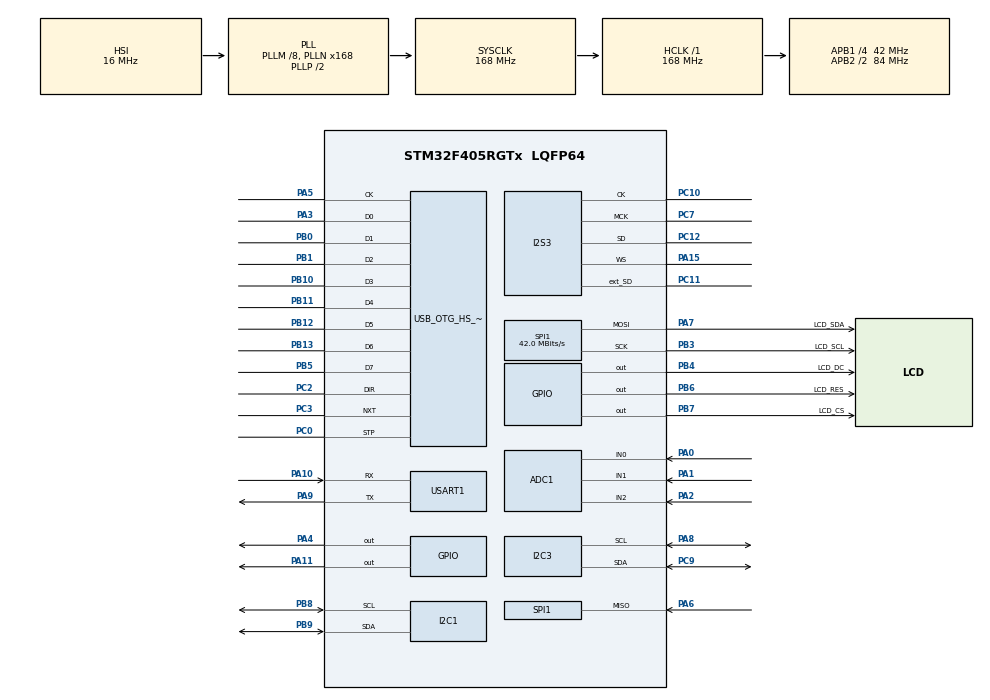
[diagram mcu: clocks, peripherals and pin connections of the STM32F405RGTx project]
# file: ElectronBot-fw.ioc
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ADC1.Channel-0\#ChannelRegularConversion=ADC_CHANNEL_0
ADC1.NbrOfConversionFlag=1
ADC1.Rank-0\#ChannelRegularConversion=1
ADC1.SamplingTime-0\#ChannelRegularConversion=ADC_SAMPLETIME_3CYCLES
ADC1.master=1
Dma.I2C1_RX.6.Direction=DMA_PERIPH_TO_MEMORY
Dma.I2C1_RX.6.FIFOMode=DMA_FIFOMODE_DISABLE
Dma.I2C1_RX.6.Instance=DMA1_Stream0
Dma.I2C1_RX.6.MemDataAlignment=DMA_MDATAALIGN_BYTE
Dma.I2C1_RX.6.MemInc=DMA_MINC_ENABLE
Dma.I2C1_RX.6.Mode=DMA_NORMAL
Dma.I2C1_RX.6.PeriphDataAlignment=DMA_PDATAALIGN_BYTE
Dma.I2C1_RX.6.PeriphInc=DMA_PINC_DISABLE
Dma.I2C1_RX.6.Priority=DMA_PRIORITY_LOW
Dma.I2C1_TX.5.Direction=DMA_MEMORY_TO_PERIPH
Dma.I2C1_TX.5.FIFOMode=DMA_FIFOMODE_DISABLE
Dma.I2C1_TX.5.Instance=DMA1_Stream6
Dma.I2C1_TX.5.MemDataAlignment=DMA_MDATAALIGN_BYTE
Dma.I2C1_TX.5.MemInc=DMA_MINC_ENABLE
Dma.I2C1_TX.5.Mode=DMA_NORMAL
Dma.I2C1_TX.5.PeriphDataAlignment=DMA_PDATAALIGN_BYTE
Dma.I2C1_TX.5.PeriphInc=DMA_PINC_DISABLE
Dma.I2C1_TX.5.Priority=DMA_PRIORITY_LOW
Dma.I2S3_EXT_RX.4.Direction=DMA_PERIPH_TO_MEMORY
Dma.I2S3_EXT_RX.4.FIFOMode=DMA_FIFOMODE_DISABLE
Dma.I2S3_EXT_RX.4.Instance=DMA1_Stream2
Dma.I2S3_EXT_RX.4.MemDataAlignment=DMA_MDATAALIGN_HALFWORD
Dma.I2S3_EXT_RX.4.MemInc=DMA_MINC_ENABLE
Dma.I2S3_EXT_RX.4.Mode=DMA_CIRCULAR
Dma.I2S3_EXT_RX.4.PeriphDataAlignment=DMA_PDATAALIGN_HALFWORD
Dma.I2S3_EXT_RX.4.PeriphInc=DMA_PINC_DISABLE
Dma.I2S3_EXT_RX.4.Priority=DMA_PRIORITY_LOW
Dma.Request0=SPI1_TX
Dma.Request1=USART1_RX
Dma.Request2=USART1_TX
Dma.Request3=SPI3_TX
Dma.Request4=I2S3_EXT_RX
Dma.Request5=I2C1_TX
Dma.Request6=I2C1_RX
Dma.SPI1_TX.0.Direction=DMA_MEMORY_TO_PERIPH
Dma.SPI1_TX.0.FIFOMode=DMA_FIFOMODE_DISABLE
Dma.SPI1_TX.0.Instance=DMA2_Stream3
Dma.SPI1_TX.0.MemDataAlignment=DMA_MDATAALIGN_BYTE
Dma.SPI1_TX.0.MemInc=DMA_MINC_ENABLE
Dma.SPI1_TX.0.Mode=DMA_NORMAL
Dma.SPI1_TX.0.PeriphDataAlignment=DMA_PDATAALIGN_BYTE
Dma.SPI1_TX.0.PeriphInc=DMA_PINC_DISABLE
Dma.SPI1_TX.0.Priority=DMA_PRIORITY_LOW
Dma.SPI3_TX.3.Direction=DMA_MEMORY_TO_PERIPH
Dma.SPI3_TX.3.FIFOMode=DMA_FIFOMODE_DISABLE
Dma.SPI3_TX.3.Instance=DMA1_Stream5
Dma.SPI3_TX.3.MemDataAlignment=DMA_MDATAALIGN_HALFWORD
Dma.SPI3_TX.3.MemInc=DMA_MINC_ENABLE
Dma.SPI3_TX.3.Mode=DMA_NORMAL
Dma.SPI3_TX.3.PeriphDataAlignment=DMA_PDATAALIGN_HALFWORD
Dma.SPI3_TX.3.PeriphInc=DMA_PINC_DISABLE
Dma.SPI3_TX.3.Priority=DMA_PRIORITY_LOW
Dma.USART1_RX.1.Direction=DMA_PERIPH_TO_MEMORY
Dma.USART1_RX.1.FIFOMode=DMA_FIFOMODE_DISABLE
Dma.USART1_RX.1.Instance=DMA2_Stream2
Dma.USART1_RX.1.MemDataAlignment=DMA_MDATAALIGN_BYTE
Dma.USART1_RX.1.MemInc=DMA_MINC_ENABLE
Dma.USART1_RX.1.Mode=DMA_CIRCULAR
Dma.USART1_RX.1.PeriphDataAlignment=DMA_PDATAALIGN_BYTE
Dma.USART1_RX.1.PeriphInc=DMA_PINC_DISABLE
Dma.USART1_RX.1.Priority=DMA_PRIORITY_LOW
Dma.USART1_TX.2.Direction=DMA_MEMORY_TO_PERIPH
Dma.USART1_TX.2.FIFOMode=DMA_FIFOMODE_DISABLE
Dma.USART1_TX.2.Instance=DMA2_Stream7
Dma.USART1_TX.2.MemDataAlignment=DMA_MDATAALIGN_BYTE
Dma.USART1_TX.2.MemInc=DMA_MINC_ENABLE
Dma.USART1_TX.2.Mode=DMA_NORMAL
Dma.USART1_TX.2.PeriphDataAlignment=DMA_PDATAALIGN_BYTE
Dma.USART1_TX.2.PeriphInc=DMA_PINC_DISABLE
Dma.USART1_TX.2.Priority=DMA_PRIORITY_LOW
FREERTOS.Tasks01=defaultTask,24,128,StartDefaultTask,Default,NULL,Dynamic,NULL,NULL
FREERTOS.configENABLE_FPU=1
FREERTOS.configTOTAL_HEAP_SIZE=10000
I2C1.I2C_Mode=I2C_Standard
I2S3.AudioFreq=I2S_AUDIOFREQ_44K
I2S3.DataFormat=I2S_DATAFORMAT_16B_EXTENDED
I2S3.ErrorAudioFreq=0.26 %
I2S3.FullDuplexMode=I2S_FULLDUPLEXMODE_ENABLE
I2S3.Instance=SPI$Index
I2S3.RealAudioFreq=44.117 KHz
I2S3.VirtualMode=I2S_MODE_MASTER
Mcu.Family=STM32F4
Mcu.Name=STM32F405RGTx
Mcu.Package=LQFP64
NVIC.DMA1_Stream0_IRQn=true\:5\:0\:false\:false\:true\:true\:false\:true
NVIC.DMA1_Stream2_IRQn=true\:5\:0\:false\:false\:true\:true\:false\:true
NVIC.DMA1_Stream5_IRQn=true\:5\:0\:false\:false\:true\:true\:false\:true
NVIC.DMA1_Stream6_IRQn=true\:5\:0\:false\:false\:true\:true\:false\:true
NVIC.DMA2_Stream2_IRQn=true\:5\:0\:false\:false\:true\:true\:false\:true
NVIC.DMA2_Stream3_IRQn=true\:5\:0\:false\:false\:true\:true\:false\:true
NVIC.DMA2_Stream7_IRQn=true\:5\:0\:false\:false\:true\:true\:false\:true
NVIC.I2C1_ER_IRQn=true\:5\:0\:false\:false\:true\:true\:true\:true
NVIC.I2C1_EV_IRQn=true\:5\:0\:false\:false\:true\:true\:true\:true
NVIC.OTG_HS_EP1_IN_IRQn=true\:5\:0\:false\:false\:true\:true\:true\:true
NVIC.OTG_HS_EP1_OUT_IRQn=true\:5\:0\:false\:false\:true\:true\:true\:true
NVIC.OTG_HS_IRQn=true\:5\:0\:false\:false\:true\:true\:false\:true
NVIC.PriorityGroup=NVIC_PRIORITYGROUP_4
NVIC.SPI1_IRQn=true\:5\:0\:false\:false\:true\:true\:true\:true
NVIC.SPI3_IRQn=true\:5\:0\:false\:false\:true\:true\:true\:true
NVIC.TIM4_IRQn=true\:5\:0\:false\:false\:true\:true\:true\:true
NVIC.TIM8_TRG_COM_TIM14_IRQn=true\:0\:0\:false\:false\:true\:false\:false\:true
NVIC.TimeBase=TIM8_TRG_COM_TIM14_IRQn
NVIC.TimeBaseIP=TIM14
NVIC.USART1_IRQn=true\:5\:0\:false\:false\:true\:true\:true\:true
PA0-WKUP.Signal=ADCx_IN0
PA1.Signal=ADCx_IN1
PA10.Mode=Asynchronous
PA10.Signal=USART1_RX
PA11.Signal=GPIO_Output
PA13.Mode=Serial_Wire
PA13.Signal=SYS_JTMS-SWDIO
PA14.Mode=Serial_Wire
PA14.Signal=SYS_JTCK-SWCLK
PA15.Mode=Full_Duplex_Master
PA15.Signal=I2S3_WS
PA2.Signal=ADCx_IN2
PA3.Mode=Device_HS
PA3.Signal=USB_OTG_HS_ULPI_D0
PA4.Signal=GPIO_Output
PA5.Mode=Device_HS
PA5.Signal=USB_OTG_HS_ULPI_CK
PA6.Mode=Full_Duplex_Master
PA6.Signal=SPI1_MISO
PA7.GPIO_Label=LCD_SDA
PA7.Mode=Full_Duplex_Master
PA7.Signal=SPI1_MOSI
PA8.Mode=I2C
PA8.Signal=I2C3_SCL
PA9.Mode=Asynchronous
PA9.Signal=USART1_TX
PB0.Mode=Device_HS
PB0.Signal=USB_OTG_HS_ULPI_D1
PB1.Mode=Device_HS
PB1.Signal=USB_OTG_HS_ULPI_D2
PB10.Mode=Device_HS
PB10.Signal=USB_OTG_HS_ULPI_D3
PB11.Mode=Device_HS
PB11.Signal=USB_OTG_HS_ULPI_D4
PB12.Mode=Device_HS
PB12.Signal=USB_OTG_HS_ULPI_D5
PB13.Mode=Device_HS
PB13.Signal=USB_OTG_HS_ULPI_D6
PB3.GPIO_Label=LCD_SCL
PB3.Mode=Full_Duplex_Master
PB3.Signal=SPI1_SCK
PB4.GPIO_Label=LCD_DC
PB4.GPIO_Speed=GPIO_SPEED_FREQ_VERY_HIGH
PB4.Signal=GPIO_Output
PB5.Mode=Device_HS
PB5.Signal=USB_OTG_HS_ULPI_D7
PB6.GPIO_Label=LCD_RES
PB6.GPIO_Speed=GPIO_SPEED_FREQ_VERY_HIGH
PB6.Signal=GPIO_Output
PB7.GPIO_Label=LCD_CS
PB7.GPIO_Speed=GPIO_SPEED_FREQ_VERY_HIGH
PB7.Signal=GPIO_Output
PB8.Mode=I2C
PB8.Signal=I2C1_SCL
PB9.Mode=I2C
PB9.Signal=I2C1_SDA
PC0.Mode=Device_HS
PC0.Signal=USB_OTG_HS_ULPI_STP
PC10.Mode=Full_Duplex_Master
PC10.Signal=I2S3_CK
PC11.Mode=Full_Duplex_Master
PC11.Signal=I2S3_ext_SD
PC12.Mode=Full_Duplex_Master
PC12.Signal=I2S3_SD
PC2.Mode=Device_HS
PC2.Signal=USB_OTG_HS_ULPI_DIR
PC3.Mode=Device_HS
PC3.Signal=USB_OTG_HS_ULPI_NXT
PC7.Mode=Master_Clock_Activated
PC7.Signal=I2S3_MCK
PC9.Mode=I2C
PC9.Signal=I2C3_SDA
PH0-OSC_IN.Mode=HSE-External-Oscillator
PH0-OSC_IN.Signal=RCC_OSC_IN
PH1-OSC_OUT.Mode=HSE-External-Oscillator
PH1-OSC_OUT.Signal=RCC_OSC_OUT
ProjectManager.HeapSize=0x1000
ProjectManager.StackSize=0x1000
ProjectManager.TargetToolchain=MDK-ARM V5.27
RCC.48MHZClocksFreq_Value=48000000
RCC.AHBFreq_Value=168000000
RCC.APB1CLKDivider=RCC_HCLK_DIV4
RCC.APB1Freq_Value=42000000
RCC.APB1TimFreq_Value=84000000
RCC.APB2CLKDivider=RCC_HCLK_DIV2
RCC.APB2Freq_Value=84000000
RCC.APB2TimFreq_Value=168000000
RCC.CortexFreq_Value=168000000
RCC.HCLKFreq_Value=168000000
RCC.HSE_VALUE=8000000
RCC.HSI_VALUE=16000000
RCC.LSE_VALUE=32768
RCC.PLLM=8
RCC.PLLN=168
RCC.PLLQ=7
RCC.SYSCLKFreq_VALUE=168000000
RCC.SYSCLKSource=RCC_SYSCLKSOURCE_PLLCLK
RCC.VCOOutputFreq_Value=336000000
SH.ADCx_IN0.0=ADC1_IN0,IN0
SH.ADCx_IN1.0=ADC1_IN1,IN1
SH.ADCx_IN2.0=ADC1_IN2,IN2
SPI1.BaudRatePrescaler=SPI_BAUDRATEPRESCALER_2
SPI1.CalculateBaudRate=42.0 MBits/s
SPI1.Direction=SPI_DIRECTION_2LINES
SPI1.Mode=SPI_MODE_MASTER
SPI1.VirtualType=VM_MASTER
TIM4.Period=100
TIM4.Prescaler=168 - 1
TIM4.TIM_MasterOutputTrigger=TIM_TRGO_UPDATE
TIM5.Prescaler=168 -1
USART1.VirtualMode=VM_ASYNC
USB_DEVICE.APP_RX_DATA_SIZE-CDC_HS=4
USB_DEVICE.APP_TX_DATA_SIZE-CDC_HS=4
USB_DEVICE.CLASS_NAME_HS=CDC
USB_DEVICE.PID_CDC_HS=32803
USB_DEVICE.VID-CDC_HS=4097
USB_DEVICE.VirtualMode-CDC_HS=Cdc
USB_DEVICE.VirtualModeHS=Cdc_HS
USB_OTG_HS.VirtualMode-Device_HS=Device_HS
USB_OTG_HS.dma_enable-Device_HS=ENABLE
VP_FREERTOS_VS_CMSIS_V2.Mode=CMSIS_V2
VP_SYS_VS_tim14.Mode=TIM14
VP_TIM4_VS_ClockSourceINT.Mode=Internal
VP_TIM5_VS_ClockSourceINT.Mode=Internal
VP_USB_DEVICE_VS_USB_DEVICE_CDC_HS.Mode=CDC_HS
board=custom

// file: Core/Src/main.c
/* USER CODE BEGIN Header */
/**
  ******************************************************************************
  * @file           : main.c
  * @brief          : Main program body
  ******************************************************************************
  * @attention
  *
  * <h2><center>&copy; Copyright (c) 2021 STMicroelectronics.
  * All rights reserved.</center></h2>
  *
  * This software component is licensed by ST under BSD 3-Clause license,
  * the "License"; You may not use this file except in compliance with the
  * License. You may obtain a copy of the License at:
  *                        opensource.org/licenses/BSD-3-Clause
  *
  ******************************************************************************
  */
/* USER CODE END Header */
#include "main.h"
#include "cmsis_os.h"
#include "adc.h"
#include "dma.h"
#include "i2c.h"
#include "i2s.h"
#include "spi.h"
#include "tim.h"
#include "usart.h"
#include "usb_device.h"
#include "gpio.h"

/* USER CODE BEGIN PV */

// uint8_t completed = 1;

/* USER CODE END PV */

void SystemClock_Config(void);
void MX_FREERTOS_Init(void);

int main(void)
{

  /* MCU Configuration--------------------------------------------------------*/

  /* Reset of all peripherals, Initializes the Flash interface and the Systick. */
  HAL_Init();

  /* USER CODE BEGIN Init */
  HAL_RCC_DeInit();
  /* USER CODE END Init */

  /* Configure the system clock */
  SystemClock_Config();

  /* USER CODE BEGIN SysInit */
  HAL_Delay(100);
  /* USER CODE END SysInit */

  /* Initialize all configured peripherals */
  MX_GPIO_Init();
  MX_DMA_Init();
  MX_ADC1_Init();
  MX_SPI1_Init();
  MX_USART1_UART_Init();
  MX_I2C1_Init();
  MX_I2S3_Init();
  MX_I2C3_Init();
  MX_TIM5_Init();
  MX_TIM4_Init();
  /* USER CODE BEGIN 2 */
  HAL_TIM_Base_Start(&htim5);
  HAL_TIM_Base_Start_IT(&htim4);
  /* USER CODE END 2 */

  /* Init scheduler */
  osKernelInitialize();  /* Call init function for freertos objects (in freertos.c) */
  MX_FREERTOS_Init();
  /* Start scheduler */
  osKernelStart();

  /* We should never get here as control is now taken by the scheduler */
  /* Infinite loop */
    while (1)
    {

    }
}

void SystemClock_Config(void)
{
  RCC_OscInitTypeDef RCC_OscInitStruct = {0};
  RCC_ClkInitTypeDef RCC_ClkInitStruct = {0};
  RCC_PeriphCLKInitTypeDef PeriphClkInitStruct = {0};

  /** Configure the main internal regulator output voltage
  */
  __HAL_RCC_PWR_CLK_ENABLE();
  __HAL_PWR_VOLTAGESCALING_CONFIG(PWR_REGULATOR_VOLTAGE_SCALE1);
  /** Initializes the RCC Oscillators according to the specified parameters
  * in the RCC_OscInitTypeDef structure.
  */
  RCC_OscInitStruct.OscillatorType = RCC_OSCILLATORTYPE_HSI;
  RCC_OscInitStruct.HSIState = RCC_HSI_ON;
  RCC_OscInitStruct.HSICalibrationValue = RCC_HSICALIBRATION_DEFAULT;
  RCC_OscInitStruct.PLL.PLLState = RCC_PLL_ON;
  RCC_OscInitStruct.PLL.PLLSource = RCC_PLLSOURCE_HSI;
  RCC_OscInitStruct.PLL.PLLM = 8;
  RCC_OscInitStruct.PLL.PLLN = 168;
  RCC_OscInitStruct.PLL.PLLP = RCC_PLLP_DIV2;
  RCC_OscInitStruct.PLL.PLLQ = 7;
  if (HAL_RCC_OscConfig(&RCC_OscInitStruct) != HAL_OK)
  {
    Error_Handler();
  }
  /** Initializes the CPU, AHB and APB buses clocks
  */
  RCC_ClkInitStruct.ClockType = RCC_CLOCKTYPE_HCLK|RCC_CLOCKTYPE_SYSCLK
                              |RCC_CLOCKTYPE_PCLK1|RCC_CLOCKTYPE_PCLK2;
  RCC_ClkInitStruct.SYSCLKSource = RCC_SYSCLKSOURCE_PLLCLK;
  RCC_ClkInitStruct.AHBCLKDivider = RCC_SYSCLK_DIV1;
  RCC_ClkInitStruct.APB1CLKDivider = RCC_HCLK_DIV4;
  RCC_ClkInitStruct.APB2CLKDivider = RCC_HCLK_DIV2;

  if (HAL_RCC_ClockConfig(&RCC_ClkInitStruct, FLASH_LATENCY_5) != HAL_OK)
  {
    Error_Handler();
  }
  PeriphClkInitStruct.PeriphClockSelection = RCC_PERIPHCLK_I2S;
  PeriphClkInitStruct.PLLI2S.PLLI2SN = 192;
  PeriphClkInitStruct.PLLI2S.PLLI2SR = 2;
  if (HAL_RCCEx_PeriphCLKConfig(&PeriphClkInitStruct) != HAL_OK)
  {
    Error_Handler();
  }
}

/* USER CODE BEGIN 4 */
extern void system_data_tx_call_100us(void);
/* USER CODE END 4 */

 /**
  * @brief  Period elapsed callback in non blocking mode
  * @note   This function is called  when TIM14 interrupt took place, inside
  * HAL_TIM_IRQHandler(). It makes a direct call to HAL_IncTick() to increment
  * a global variable "uwTick" used as application time base.
  * @param  htim : TIM handle
  * @retval None
  */
void HAL_TIM_PeriodElapsedCallback(TIM_HandleTypeDef *htim)
{
  if (htim->Instance == TIM14) {
    HAL_IncTick();
  }
  /* USER CODE BEGIN Callback 1 */
  if (htim->Instance == TIM4)
  {

  }
  /* USER CODE END Callback 1 */
}

void Error_Handler(void)
{
    __disable_irq();
    while (1)
    {
    }
}

/************************ (C) COPYRIGHT STMicroelectronics *****END OF FILE****/

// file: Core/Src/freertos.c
/* USER CODE BEGIN Header */
/**
  ******************************************************************************
  * File Name          : freertos.c
  * Description        : Code for freertos applications
  ******************************************************************************
  * @attention
  *
  * <h2><center>&copy; Copyright (c) 2022 STMicroelectronics.
  * All rights reserved.</center></h2>
  *
  * This software component is licensed by ST under Ultimate Liberty license
  * SLA0044, the "License"; You may not use this file except in compliance with
  * the License. You may obtain a copy of the License at:
  *                             www.st.com/SLA0044
  *
  ******************************************************************************
  */
/* USER CODE END Header */

#include "FreeRTOS.h"
#include "task.h"
#include "main.h"
#include "cmsis_os.h"

/* USER CODE BEGIN Includes */
#include "common_inc.h"
#include "UnitTest.h"
/* USER CODE END Includes */

/* USER CODE BEGIN Variables */
//__attribute__((section(".ccmram"))) uint8_t ucHeap[configTOTAL_HEAP_SIZE];

/* USER CODE END Variables */
/* Definitions for defaultTask */
osThreadId_t defaultTaskHandle;
const osThreadAttr_t defaultTask_attributes = {
  .name = "defaultTask",
  .stack_size = 128 * 4,
  .priority = (osPriority_t) osPriorityNormal,
};

/* USER CODE BEGIN FunctionPrototypes */
osThreadId_t audioTaskHandle;
const osThreadAttr_t audioTask_attributes = {
  .name = "audioTask",
  .stack_size = 128 * 8,
  .priority = (osPriority_t) osPriorityAboveNormal,
};

void StartAudioTask(void *argument);

/* USER CODE END FunctionPrototypes */

void StartDefaultTask(void *argument);

extern void MX_USB_DEVICE_Init(void);
void MX_FREERTOS_Init(void); /* (MISRA C 2004 rule 8.1) */

void MX_FREERTOS_Init(void) {

  /* Create the thread(s) */
  /* creation of defaultTask */
  defaultTaskHandle = osThreadNew(StartDefaultTask, NULL, &defaultTask_attributes);

}

void StartDefaultTask(void *argument)
{
  /* init code for USB_DEVICE */
  MX_USB_DEVICE_Init();
  /* USER CODE BEGIN StartDefaultTask */

    // Invoke cpp-version main().
	audioTaskHandle  = osThreadNew(StartAudioTask, NULL,  &audioTask_attributes);
    vTaskDelete(defaultTaskHandle);
  /* USER CODE END StartDefaultTask */
}

/* USER CODE BEGIN Application */
void StartAudioTask(void *argument)
{
	TaskAudioEntry();
}
/* USER CODE END Application */

/************************ (C) COPYRIGHT STMicroelectronics *****END OF FILE****/
